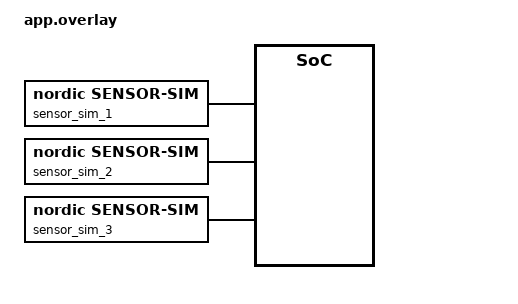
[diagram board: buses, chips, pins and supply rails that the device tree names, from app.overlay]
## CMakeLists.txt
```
#
# Copyright (c) 2022 Nordic Semiconductor
#
# SPDX-License-Identifier: LicenseRef-Nordic-5-Clause
#
cmake_minimum_required(VERSION 3.20.0)


find_package(Zephyr REQUIRED HINTS $ENV{ZEPHYR_BASE})
project("Sensor Manager sample")
# Include application event headers
zephyr_library_include_directories(src/events)
zephyr_library_include_directories(src/modules)
# Add include directory for board specific CAF def files
zephyr_include_directories(configuration/common)

# Add test sources
target_sources(app PRIVATE src/main.c)

add_subdirectory(src/events)
add_subdirectory(src/modules)
```

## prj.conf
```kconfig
#
# Copyright (c) 2022-2023 Nordic Semiconductor ASA
#
# SPDX-License-Identifier: LicenseRef-Nordic-5-Clause
#
################################################################################
# Application configuration
CONFIG_ZTEST=y

CONFIG_CAF=y
CONFIG_CAF_SENSOR_MANAGER=y
CONFIG_CAF_SENSOR_MANAGER_THREAD_PRIORITY=-1

CONFIG_CAF_SENSOR_EVENTS=y
CONFIG_CAF_SENSOR_MANAGER_THREAD_STACK_SIZE=512

CONFIG_APP_EVENT_MANAGER=y
CONFIG_SYSTEM_WORKQUEUE_STACK_SIZE=2048
CONFIG_REBOOT=y
CONFIG_HEAP_MEM_POOL_SIZE=4096

# Using simulated sensor (the DK does not have built-in sensor)
CONFIG_SENSOR=y
CONFIG_SENSOR_SIM=y
CONFIG_SENSOR_STUB=n

################################################################################
# Debug configuration

CONFIG_ASSERT=y
CONFIG_RESET_ON_FATAL_ERROR=n

CONFIG_TEST_LOGGING_DEFAULTS=n
CONFIG_LOG=n
```

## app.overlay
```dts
/*
 * Copyright (c) 2022 Nordic Semiconductor ASA
 *
 * SPDX-License-Identifier: LicenseRef-Nordic-5-Clause
 */

/ {
	sensor_sim_1: sensor_sim_1 {
		compatible = "nordic,sensor-sim";
		acc-signal = "wave";
	};

	sensor_sim_2: sensor_sim_2 {
		compatible = "nordic,sensor-sim";
		acc-signal = "wave";
	};

	sensor_sim_3: sensor_sim_3 {
		compatible = "nordic,sensor-sim";
		acc-signal = "wave";
	};
};
```

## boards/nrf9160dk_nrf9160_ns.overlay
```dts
/*
 * Copyright (c) 2026 Nordic Semiconductor ASA
 *
 * SPDX-License-Identifier: LicenseRef-Nordic-5-Clause
 */

#include <samples/cellular/nrf91_crypto_partitions.dtsi>

/ {
	sensor_sim_1: sensor_sim_1 {
		compatible = "nordic,sensor-sim";
		acc-signal = "wave";
	};

	sensor_sim_2: sensor_sim_2 {
		compatible = "nordic,sensor-sim";
		acc-signal = "wave";
	};

	sensor_sim_3: sensor_sim_3 {
		compatible = "nordic,sensor-sim";
		acc-signal = "wave";
	};
};
```

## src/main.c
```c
/*
 * Copyright (c) 2022 Nordic Semiconductor ASA
 *
 * SPDX-License-Identifier: LicenseRef-Nordic-5-Clause
 */


#include <zephyr/ztest.h>
#include <app_event_manager.h>
#include "test_events.h"
#include <caf/events/sensor_event.h>
#include <zephyr/drivers/sensor.h>
#include <zephyr/kernel.h>

#define MODULE main

#include <caf/events/module_state_event.h>

LOG_MODULE_REGISTER(MODULE);

#define PRE_CHANGE_SAMPLING_PERIOD 20
#define SAMPLING_PERIOD 40
#define SAMPLING_PERIOD_LONG 33000

static enum test_id cur_test_id;
static K_SEM_DEFINE(test_end_sem, 0, 1);
static K_SEM_DEFINE(test_init_sem, 0, 1);
int64_t first_event_uptime;
uint8_t sensors_tested;
uint8_t sensors_tested_mask;

static void test_start(enum test_id test_id)
{
	cur_test_id = test_id;
	struct test_start_event *ts = new_test_start_event();

	zassert_not_null(ts, "Failed to allocate event");
	ts->test_id = test_id;
	APP_EVENT_SUBMIT(ts);

	int err = k_sem_take(&test_end_sem, K_SECONDS(30));

	zassert_ok(err, "Test execution hanged");
}

static void *test_init(void)
{
	zassert_ok(app_event_manager_init(), "Error when initializing");
	module_set_state(MODULE_STATE_READY);
	test_start(TEST_SENSOR_INIT);
	return NULL;
}

static void test_before(void *f)
{
	struct set_sensor_period_event *event_sensor1 = new_set_sensor_period_event();
	struct set_sensor_period_event *event_sensor2 = new_set_sensor_period_event();
	struct set_sensor_period_event *event_sensor3 = new_set_sensor_period_event();
	struct test_initialization_done_event *event_init_done =
						new_test_initialization_done_event();

	event_sensor1->sampling_period = PRE_CHANGE_SAMPLING_PERIOD;
	event_sensor1->descr = "Simulated sensor 1";
	APP_EVENT_SUBMIT(event_sensor1);

	event_sensor2->sampling_period = SAMPLING_PERIOD_LONG;
	event_sensor2->descr = "Simulated sensor 2";
	APP_EVENT_SUBMIT(event_sensor2);

	event_sensor3->sampling_period = SAMPLING_PERIOD_LONG;
	event_sensor3->descr = "Simulated sensor 3";
	APP_EVENT_SUBMIT(event_sensor3);

	APP_EVENT_SUBMIT(event_init_done);

	int err = k_sem_take(&test_init_sem, K_SECONDS(30));

	zassert_ok(err, "Test execution hanged");
}

ZTEST(caf_sensor_manager_tests, test_basic)
{
	test_start(TEST_BASIC);
}

ZTEST(caf_sensor_manager_tests, test_change_period_pre)
{
	test_start(TEST_CHANGE_PERIOD_PRE);
}

ZTEST(caf_sensor_manager_tests, test_change_period_post)
{
	struct set_sensor_period_event *event = new_set_sensor_period_event();

	event->sampling_period = SAMPLING_PERIOD;
	event->descr = "Simulated sensor 1";
	APP_EVENT_SUBMIT(event);

	test_start(TEST_CHANGE_PERIOD_POST);
}

ZTEST(caf_sensor_manager_tests, test_multiple_sensors)
{
	struct set_sensor_period_event *event_sensor1 = new_set_sensor_period_event();
	struct set_sensor_period_event *event_sensor2 = new_set_sensor_period_event();
	struct set_sensor_period_event *event_sensor3 = new_set_sensor_period_event();

	event_sensor1->sampling_period = SAMPLING_PERIOD;
	event_sensor1->descr = "Simulated sensor 1";
	APP_EVENT_SUBMIT(event_sensor1);

	event_sensor2->sampling_period = SAMPLING_PERIOD;
	event_sensor2->descr = "Simulated sensor 2";
	APP_EVENT_SUBMIT(event_sensor2);

	event_sensor3->sampling_period = SAMPLING_PERIOD;
	event_sensor3->descr = "Simulated sensor 3";
	APP_EVENT_SUBMIT(event_sensor3);



	test_start(TEST_MULTIPLE_SENSORS);
}

static bool app_event_handler(const struct app_event_header *aeh)
{
	if (is_test_end_event(aeh)) {
		struct test_end_event *ev = cast_test_end_event(aeh);

		zassert_equal(cur_test_id, ev->test_id,
			"End test ID does not equal start test ID");
		cur_test_id = TEST_IDLE;
		k_sem_give(&test_end_sem);

		return false;
	}

	if (is_sensor_event(aeh)) {

		struct sensor_event *ev = cast_sensor_event(aeh);

		switch (cur_test_id) {
		case TEST_BASIC:
			cur_test_id = TEST_IDLE;
			k_sem_give(&test_end_sem);
			break;

		case TEST_CHANGE_PERIOD_PRE:
			if (strcmp(ev->descr, "Simulated sensor 1")) {
				zassert_unreachable("Expected sensor 1 event");
			}
			if (first_event_uptime == 0) {
				first_event_uptime = k_uptime_get();
				break;
			}
			int64_t sampled_period_pre = k_uptime_get() - first_event_uptime;

			zassert_between_inclusive(sampled_period_pre,
							PRE_CHANGE_SAMPLING_PERIOD - 1,
							PRE_CHANGE_SAMPLING_PERIOD + 1,
							"Wrong sample time");
			first_event_uptime = 0;
			cur_test_id = TEST_IDLE;
			k_sem_give(&test_end_sem);
			break;

		case TEST_CHANGE_PERIOD_POST:
			if (strcmp(ev->descr, "Simulated sensor 1")) {
				zassert_unreachable("Expected sensor 1 event");
			}
			if (first_event_uptime == 0) {
				first_event_uptime = k_uptime_get();
				break;
			}

			int64_t sampled_period_post = k_uptime_get() - first_event_uptime;

			zassert_between_inclusive(sampled_period_post,
							SAMPLING_PERIOD - 1,
							SAMPLING_PERIOD + 1,
							"Wrong sample time");
			first_event_uptime = 0;
			cur_test_id = TEST_IDLE;
			k_sem_give(&test_end_sem);
			break;

		case TEST_MULTIPLE_SENSORS:
			if (!strcmp(ev->descr, "Simulated sensor 1") &&
					((BIT(0) & sensors_tested_mask) == 0)) {
				sensors_tested++;
				sensors_tested_mask = sensors_tested_mask | BIT(0);
				if (sensors_tested == 3) {
					cur_test_id = TEST_IDLE;
					k_sem_give(&test_end_sem);
				}
				break;
			}
			if (!strcmp(ev->descr, "Simulated sensor 2") &&
					((BIT(1) & sensors_tested_mask) == 0)) {
				sensors_tested++;
				sensors_tested_mask = sensors_tested_mask | BIT(1);
				if (sensors_tested == 3) {
					cur_test_id = TEST_IDLE;
					k_sem_give(&test_end_sem);
				}
				break;
			}
			if (!strcmp(ev->descr, "Simulated sensor 3") &&
					((BIT(2) & sensors_tested_mask) == 0)) {
				sensors_tested++;
				sensors_tested_mask = sensors_tested_mask | BIT(2);
				if (sensors_tested == 3) {
					cur_test_id = TEST_IDLE;
					k_sem_give(&test_end_sem);
				}
				break;
			}

			zassert_unreachable("Expected sensor event from different sensor");

		default:
			break;
		}

		return false;
	}

	if (is_test_initialization_done_event(aeh)) {
		k_sem_give(&test_init_sem);

		return false;
	}
	zassert_unreachable("Wrong event type received");
	return false;
}

ZTEST_SUITE(caf_sensor_manager_tests, NULL, test_init, test_before, NULL, NULL);

APP_EVENT_LISTENER(test_main, app_event_handler);
APP_EVENT_SUBSCRIBE(test_main, test_end_event);
APP_EVENT_SUBSCRIBE(test_main, sensor_event);
APP_EVENT_SUBSCRIBE(test_main, test_initialization_done_event);
```
